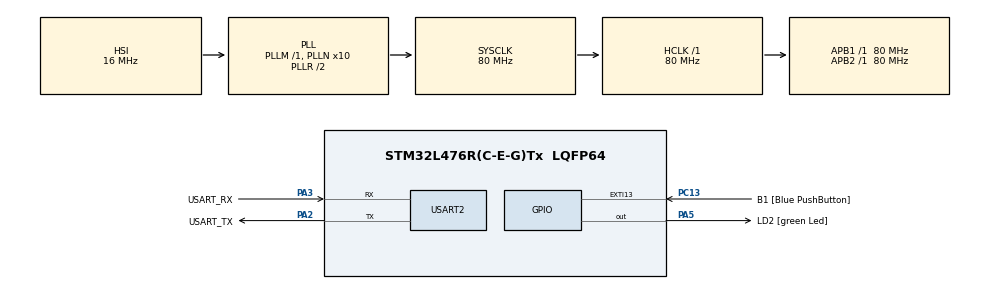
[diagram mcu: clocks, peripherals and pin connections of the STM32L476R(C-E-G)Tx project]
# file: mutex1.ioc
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FREERTOS.Tasks01=defaultTask,0,128,StartDefaultTask,Default,NULL,Dynamic,NULL,NULL
Mcu.Family=STM32L4
Mcu.Name=STM32L476R(C-E-G)Tx
Mcu.Package=LQFP64
NVIC.PriorityGroup=NVIC_PRIORITYGROUP_4
PA13\ (JTMS-SWDIO).GPIO_Label=TMS
PA13\ (JTMS-SWDIO).Mode=Serial_Wire
PA13\ (JTMS-SWDIO).Signal=SYS_JTMS-SWDIO
PA14\ (JTCK-SWCLK).GPIO_Label=TCK
PA14\ (JTCK-SWCLK).Mode=Serial_Wire
PA14\ (JTCK-SWCLK).Signal=SYS_JTCK-SWCLK
PA2.GPIO_Label=USART_TX
PA2.GPIO_Mode=GPIO_MODE_AF_PP
PA2.GPIO_PuPd=GPIO_NOPULL
PA2.GPIO_Speed=GPIO_SPEED_FREQ_VERY_HIGH
PA2.Mode=Asynchronous
PA2.Signal=USART2_TX
PA3.GPIO_Label=USART_RX
PA3.GPIO_Mode=GPIO_MODE_AF_PP
PA3.GPIO_PuPd=GPIO_NOPULL
PA3.GPIO_Speed=GPIO_SPEED_FREQ_VERY_HIGH
PA3.Mode=Asynchronous
PA3.Signal=USART2_RX
PA5.GPIO_Label=LD2 [green Led]
PA5.GPIO_ModeDefaultOutputPP=GPIO_MODE_OUTPUT_PP
PA5.GPIO_PuPd=GPIO_NOPULL
PA5.GPIO_Speed=GPIO_SPEED_FREQ_LOW
PA5.Signal=GPIO_Output
PB3\ (JTDO-TRACESWO).GPIO_Label=SWO
PB3\ (JTDO-TRACESWO).Signal=SYS_JTDO-SWO
PC13.GPIO_Label=B1 [Blue PushButton]
PC13.GPIO_ModeDefaultEXTI=GPIO_MODE_IT_FALLING
PC13.GPIO_PuPd=GPIO_NOPULL
PC13.Signal=GPXTI13
PC14-OSC32_IN\ (PC14).Mode=LSE-External-Oscillator
PC14-OSC32_IN\ (PC14).Signal=RCC_OSC32_IN
PC15-OSC32_OUT\ (PC15).Mode=LSE-External-Oscillator
PC15-OSC32_OUT\ (PC15).Signal=RCC_OSC32_OUT
PH0-OSC_IN\ (PH0).Signal=RCC_OSC_IN
PH1-OSC_OUT\ (PH1).Signal=RCC_OSC_OUT
ProjectManager.HeapSize=0x200
ProjectManager.StackSize=0x400
ProjectManager.TargetToolchain=STM32CubeIDE
RCC.ADCFreq_Value=64000000
RCC.AHBFreq_Value=80000000
RCC.APB1Freq_Value=80000000
RCC.APB1TimFreq_Value=80000000
RCC.APB2Freq_Value=80000000
RCC.APB2TimFreq_Value=80000000
RCC.CortexFreq_Value=80000000
RCC.HCLKFreq_Value=80000000
RCC.HSE_VALUE=8000000
RCC.HSI_VALUE=16000000
RCC.MSI_VALUE=4000000
RCC.PLLN=10
RCC.PLLSourceVirtual=RCC_PLLSOURCE_HSI
RCC.PREFETCH_ENABLE=1
RCC.SYSCLKFreq_VALUE=80000000
RCC.SYSCLKSource=RCC_SYSCLKSOURCE_PLLCLK
RCC.USBFreq_Value=64000000
RCC.VCOOutputFreq_Value=160000000
USART2.VirtualMode-Asynchronous=VM_ASYNC
VP_FREERTOS_VS_CMSIS_V1.Mode=CMSIS_V1
board=NUCLEO-L476RG

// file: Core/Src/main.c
/* USER CODE BEGIN Header */
/**
  ******************************************************************************
  * @file           : main.c
  * @brief          : Main program body
  ******************************************************************************
  * @attention
  *
  * Copyright (c) 2025 STMicroelectronics.
  * All rights reserved.
  *
  * This software is licensed under terms that can be found in the LICENSE file
  * in the root directory of this software component.
  * If no LICENSE file comes with this software, it is provided AS-IS.
  *
  ******************************************************************************
  */
/* USER CODE END Header */
#include "main.h"
#include "cmsis_os.h"

/* USER CODE BEGIN Includes */
#include<string.h>
#include<stdlib.h>
/* USER CODE END Includes */

UART_HandleTypeDef huart2;

osThreadId defaultTaskHandle;
/* USER CODE BEGIN PV */
xSemaphoreHandle xMutex;  //mutex handle
/* USER CODE END PV */

void SystemClock_Config(void);
static void MX_GPIO_Init(void);
static void MX_USART2_UART_Init(void);
void StartDefaultTask(void const * argument);

/* USER CODE BEGIN 0 */
// Function to send a string via UART2
void uart_send(char *s)
{
    HAL_UART_Transmit(&huart2, (uint8_t*)s, strlen(s), 1000);
}

// Task-1 function
void task1(void *p)
{
    // Take the mutex before accessing UART
    xSemaphoreTake(xMutex, portMAX_DELAY);

    // Send the task message
    uart_send((char *)p);

    // Release the mutex after UART is used
    xSemaphoreGive(xMutex);

    // Add a small delay (500 ms)
    vTaskDelay(pdMS_TO_TICKS(500));
}

// Task-2 function
void task2(void *p)
{
    while(1)  // Infinite loop
    {
        // Send the task message
        uart_send((char *)p);

        // Random delay between 1 and 16 ticks
        vTaskDelay((rand() & 0xF) + 1);
    }
}

/* USER CODE END 0 */

int main(void)
{

  /* MCU Configuration--------------------------------------------------------*/

  /* Reset of all peripherals, Initializes the Flash interface and the Systick. */
  HAL_Init();

  /* Configure the system clock */
  SystemClock_Config();

  /* Initialize all configured peripherals */
  MX_GPIO_Init();
  MX_USART2_UART_Init();

  /* Create the thread(s) */
  /* definition and creation of defaultTask */
  osThreadDef(defaultTask, StartDefaultTask, osPriorityNormal, 0, 128);
  defaultTaskHandle = osThreadCreate(osThread(defaultTask), NULL);

  /* USER CODE BEGIN RTOS_THREADS */
  // Create a mutex semaphore
  xMutex = xSemaphoreCreateMutex();

  // Check if mutex creation was successful
  if(xMutex != NULL)
  {
      // Create Task-1 with priority 1
      xTaskCreate(task1, "print1", configMINIMAL_STACK_SIZE, "***TASK-1***\r\n", 1, NULL);

      // Create Task-2 with priority 2
      xTaskCreate(task2, "print2", configMINIMAL_STACK_SIZE, "**TASK-2**\r\n", 2, NULL);
  }

  /* USER CODE END RTOS_THREADS */

  /* Start scheduler */
  osKernelStart();

  /* We should never get here as control is now taken by the scheduler */

  /* Infinite loop */
  while (1)
  {

  }
}

void SystemClock_Config(void)
{
  RCC_OscInitTypeDef RCC_OscInitStruct = {0};
  RCC_ClkInitTypeDef RCC_ClkInitStruct = {0};

  /** Configure the main internal regulator output voltage
  */
  if (HAL_PWREx_ControlVoltageScaling(PWR_REGULATOR_VOLTAGE_SCALE1) != HAL_OK)
  {
    Error_Handler();
  }

  /** Initializes the RCC Oscillators according to the specified parameters
  * in the RCC_OscInitTypeDef structure.
  */
  RCC_OscInitStruct.OscillatorType = RCC_OSCILLATORTYPE_HSI;
  RCC_OscInitStruct.HSIState = RCC_HSI_ON;
  RCC_OscInitStruct.HSICalibrationValue = RCC_HSICALIBRATION_DEFAULT;
  RCC_OscInitStruct.PLL.PLLState = RCC_PLL_ON;
  RCC_OscInitStruct.PLL.PLLSource = RCC_PLLSOURCE_HSI;
  RCC_OscInitStruct.PLL.PLLM = 1;
  RCC_OscInitStruct.PLL.PLLN = 10;
  RCC_OscInitStruct.PLL.PLLP = RCC_PLLP_DIV7;
  RCC_OscInitStruct.PLL.PLLQ = RCC_PLLQ_DIV2;
  RCC_OscInitStruct.PLL.PLLR = RCC_PLLR_DIV2;
  if (HAL_RCC_OscConfig(&RCC_OscInitStruct) != HAL_OK)
  {
    Error_Handler();
  }

  /** Initializes the CPU, AHB and APB buses clocks
  */
  RCC_ClkInitStruct.ClockType = RCC_CLOCKTYPE_HCLK|RCC_CLOCKTYPE_SYSCLK
                              |RCC_CLOCKTYPE_PCLK1|RCC_CLOCKTYPE_PCLK2;
  RCC_ClkInitStruct.SYSCLKSource = RCC_SYSCLKSOURCE_PLLCLK;
  RCC_ClkInitStruct.AHBCLKDivider = RCC_SYSCLK_DIV1;
  RCC_ClkInitStruct.APB1CLKDivider = RCC_HCLK_DIV1;
  RCC_ClkInitStruct.APB2CLKDivider = RCC_HCLK_DIV1;

  if (HAL_RCC_ClockConfig(&RCC_ClkInitStruct, FLASH_LATENCY_4) != HAL_OK)
  {
    Error_Handler();
  }
}

static void MX_USART2_UART_Init(void)
{

  huart2.Instance = USART2;
  huart2.Init.BaudRate = 115200;
  huart2.Init.WordLength = UART_WORDLENGTH_8B;
  huart2.Init.StopBits = UART_STOPBITS_1;
  huart2.Init.Parity = UART_PARITY_NONE;
  huart2.Init.Mode = UART_MODE_TX_RX;
  huart2.Init.HwFlowCtl = UART_HWCONTROL_NONE;
  huart2.Init.OverSampling = UART_OVERSAMPLING_16;
  huart2.Init.OneBitSampling = UART_ONE_BIT_SAMPLE_DISABLE;
  huart2.AdvancedInit.AdvFeatureInit = UART_ADVFEATURE_NO_INIT;
  if (HAL_UART_Init(&huart2) != HAL_OK)
  {
    Error_Handler();
  }

}

static void MX_GPIO_Init(void)
{
  GPIO_InitTypeDef GPIO_InitStruct = {0};

  /* GPIO Ports Clock Enable */
  __HAL_RCC_GPIOC_CLK_ENABLE();
  __HAL_RCC_GPIOH_CLK_ENABLE();
  __HAL_RCC_GPIOA_CLK_ENABLE();
  __HAL_RCC_GPIOB_CLK_ENABLE();

  /*Configure GPIO pin Output Level */
  HAL_GPIO_WritePin(LD2_GPIO_Port, LD2_Pin, GPIO_PIN_RESET);

  /*Configure GPIO pin : B1_Pin */
  GPIO_InitStruct.Pin = B1_Pin;
  GPIO_InitStruct.Mode = GPIO_MODE_IT_FALLING;
  GPIO_InitStruct.Pull = GPIO_NOPULL;
  HAL_GPIO_Init(B1_GPIO_Port, &GPIO_InitStruct);

  /*Configure GPIO pin : LD2_Pin */
  GPIO_InitStruct.Pin = LD2_Pin;
  GPIO_InitStruct.Mode = GPIO_MODE_OUTPUT_PP;
  GPIO_InitStruct.Pull = GPIO_NOPULL;
  GPIO_InitStruct.Speed = GPIO_SPEED_FREQ_LOW;
  HAL_GPIO_Init(LD2_GPIO_Port, &GPIO_InitStruct);

}

void StartDefaultTask(void const * argument)
{
  for(;;)
  {
    osDelay(1);
  }
}

void Error_Handler(void)
{
  __disable_irq();
  while (1)
  {
  }
}
